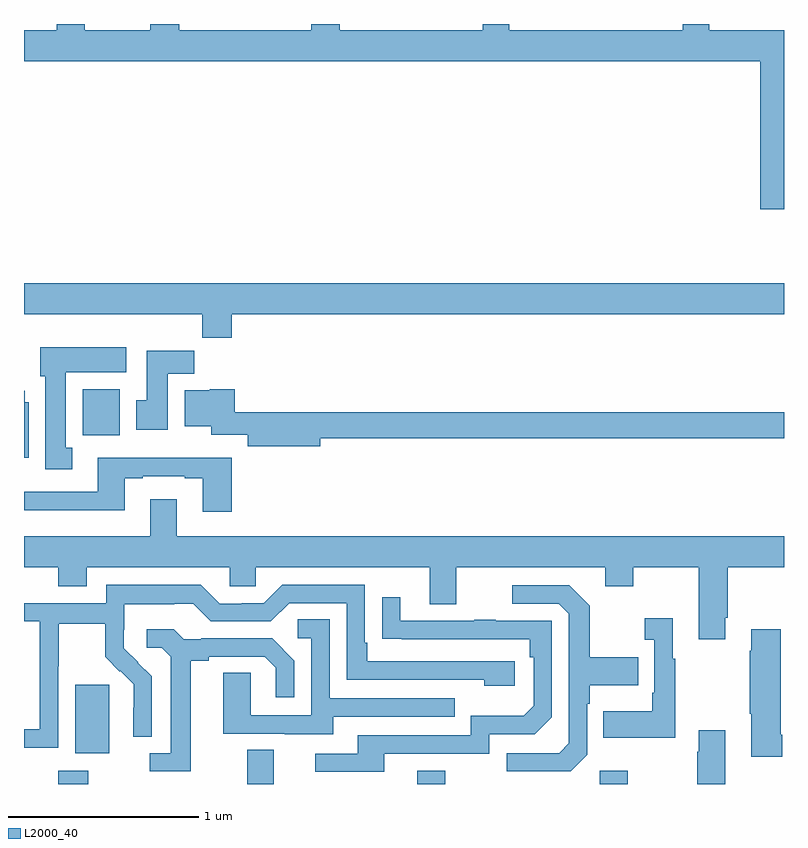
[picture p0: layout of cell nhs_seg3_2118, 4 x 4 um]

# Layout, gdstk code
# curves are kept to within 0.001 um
import gdstk
lib = gdstk.Library(unit=1e-6, precision=1e-09)
def R(c, l, rs):  # rectangles x0, y0, x1, y1
    for r in rs: c.add(gdstk.rectangle(r[:2], r[2:], *l))
def P(c, l, *ps):  # polygons
    for p in ps: c.add(gdstk.Polygon(p, *l))
L2000_40 = (2000, 40)

nhs_seg3_2118 = lib.new_cell('nhs_seg3_2118')
R(nhs_seg3_2118, L2000_40, [(219.179,742.4,219.339,742.471), (220.175,742.4,220.315,742.58), (221.069,742.4,221.217,742.471), (222.03,742.4,222.177,742.471), (219.269,742.562,219.448,742.923), (219.308,744.236,219.505,744.478)])
P(nhs_seg3_2118, L2000_40, [(223,746.368),(222.607,746.368),(222.607,746.4),(222.467,746.4),(222.467,746.368),(221.553,746.368),(221.553,746.4),(221.415,746.4),(221.415,746.368),(220.663,746.368),(220.663,746.4),(220.511,746.4),(220.511,746.368),(219.818,746.368),(219.818,746.4),(219.665,746.4),(219.665,746.368),(219.321,746.368),(219.321,746.4),(219.173,746.4),(219.173,746.368),(219,746.368),(219,746.204),(222.875,746.204),(222.875,745.425),(223,745.425)],
  [(220.094,744.872),(223,744.872),(223,745.036),(219,745.036),(219,744.872),(219.937,744.872),(219.937,744.748),(220.094,744.748)],
  [(219.253,744.17),(219.22,744.17),(219.22,744.566),(219.538,744.566),(219.538,744.7),(219.086,744.7),(219.086,744.546),(219.113,744.546),(219.113,744.057),(219.253,744.057)],
  [(219.757,744.56),(219.896,744.56),(219.896,744.679),(219.647,744.679),(219.647,744.42),(219.59,744.42),(219.59,744.264),(219.757,744.264)],
  [(220.558,744.22),(223,744.22),(223,744.356),(220.408,744.356),(220.408,744.357),(220.109,744.357),(220.109,744.478),(219.978,744.478),(219.978,744.472),(219.845,744.472),(219.845,744.284),(219.986,744.284),(219.986,744.239),(220.178,744.239),(220.178,744.178),(220.558,744.178)],
  [(219.025,744.408),(219.004,744.408),(219.004,744.469),(219,744.469),(219,744.116),(219.025,744.116)],
  [(220.094,744.118),(219.389,744.118),(219.389,743.937),(219,743.937),(219,743.84),(219.529,743.84),(219.529,744.009),(219.625,744.009),(219.625,744.021),(219.845,744.021),(219.845,744.009),(219.941,744.009),(219.941,743.832),(220.094,743.832)],
  [(222.691,743.275),(222.704,743.275),(222.704,743.54),(223,743.54),(223,743.704),(219.805,743.704),(219.805,743.899),(219.665,743.899),(219.665,743.704),(219,743.704),(219,743.54),(219.179,743.54),(219.179,743.441),(219.331,743.441),(219.331,743.54),(220.083,743.54),(220.083,743.442),(220.221,743.442),(220.221,743.54),(221.135,743.54),(221.135,743.346),(221.275,743.346),(221.275,743.54),(222.059,743.54),(222.059,743.441),(222.207,743.441),(222.207,743.54),(222.551,743.54),(222.551,743.163),(222.691,743.163)],
  [(219.18,743.02),(219.183,743.02),(219.183,743.244),(219.427,743.244),(219.427,743.069),(219.504,742.992),(219.507,742.995),(219.578,742.925),(219.578,742.802),(219.576,742.802),(219.576,742.648),(219.672,742.648),(219.672,742.966),(219.526,743.114),(219.526,743.211),(219.528,743.211),(219.528,743.345),(219.791,743.345),(219.791,743.349),(219.891,743.349),(219.984,743.256),(220.299,743.256),(220.395,743.352),(220.698,743.352),(220.698,742.95),(221.423,742.95),(221.423,742.916),(221.584,742.916),(221.584,743.046),(220.807,743.046),(220.807,743.143),(220.794,743.143),(220.794,743.448),(220.359,743.448),(220.263,743.352),(220.145,743.352),(220.145,743.349),(220.029,743.349),(219.929,743.449),(219.432,743.449),(219.432,743.352),(219,743.352),(219,743.256),(219.084,743.256),(219.084,742.689),(219,742.689),(219,742.591),(219.18,742.591)],
  [(221.964,742.554),(221.964,742.823),(221.977,742.823),(221.977,742.919),(222.233,742.919),(222.233,743.067),(221.977,743.067),(221.977,743.339),(221.871,743.445),(221.571,743.445),(221.571,743.349),(221.814,743.349),(221.868,743.295),(221.868,742.614),(221.817,742.563),(221.541,742.563),(221.541,742.467),(221.877,742.467)],
  [(220.897,742.56),(221.448,742.56),(221.448,742.662),(221.688,742.662),(221.778,742.752),(221.778,743.259),(221.483,743.259),(221.483,743.264),(221.371,743.264),(221.371,743.259),(220.981,743.259),(220.981,743.383),(220.885,743.383),(220.885,743.164),(221.662,743.163),(221.662,743.066),(221.682,743.066),(221.682,742.812),(221.629,742.759),(221.352,742.759),(221.352,742.656),(220.757,742.656),(220.757,742.56),(220.533,742.56),(220.533,742.464),(220.897,742.464)],
  [(222.427,743.059),(222.415,743.059),(222.415,743.272),(222.267,743.272),(222.267,743.159),(222.318,743.159),(222.318,742.879),(222.306,742.879),(222.306,742.783),(222.049,742.783),(222.049,742.643),(222.427,742.643)],
  [(220.627,742.755),(221.267,742.755),(221.267,742.851),(220.608,742.851),(220.608,743.267),(220.44,743.267),(220.44,743.166),(220.512,743.166),(220.512,742.761),(220.194,742.761),(220.194,742.985),(220.049,742.985),(220.049,742.665),(220.373,742.665),(220.373,742.661),(220.627,742.661)],
  [(222.99,742.66),(222.982,742.66),(222.982,743.215),(222.827,743.215),(222.827,743.102),(222.82,743.102),(222.82,742.771),(222.827,742.771),(222.827,742.544),(222.99,742.544)],
  [(219.877,743.048),(219.973,743.048),(219.973,743.07),(220.268,743.07),(220.325,743.013),(220.325,742.857),(220.422,742.857),(220.422,743.05),(220.306,743.166),(219.934,743.166),(219.934,743.163),(219.84,743.163),(219.788,743.215),(219.645,743.215),(219.645,743.118),(219.726,743.118),(219.773,743.071),(219.773,742.563),(219.663,742.563),(219.663,742.467),(219.877,742.467)],
  [(222.691,742.684),(222.551,742.684),(222.551,742.571),(222.544,742.571),(222.544,742.4),(222.691,742.4)])

lib.write_gds('nhs_seg3_2118.gds')
